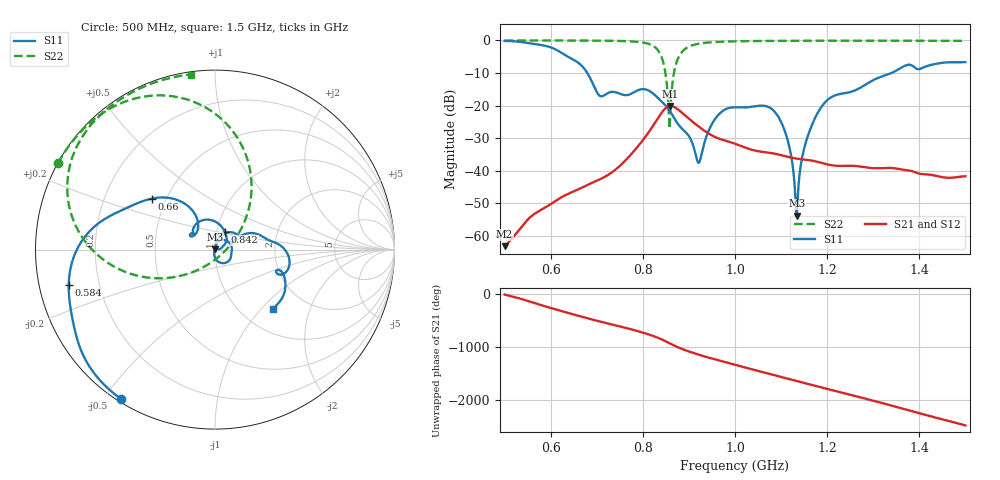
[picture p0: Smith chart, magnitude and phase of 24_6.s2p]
! TOUCHSTONE file generated by CST MICROWAVE STUDIO
! Date and time: Sat Oct 24 11:47:23 2020
! Project name: Scenario_1_Circular_Tissue_out_of_Line.cst
! Parameters = {dy1=52.843; L_HA=400; MT=2.54; Rad_Dielectric=30; Rad_Lower=7.3; Rad_Upper=30; a_HA=580; a_WG=246; b_HA=500; b_WG=121; c_HA=0; c_WG=187; d_feed=85; dx1=1039; h_feed=15; h_lower=18; h_upper=40}
! Header version: 2018
! Port assignment regex: !\s*Touchstone port\s*([0-9]+)\s*=\s*(CST MWS port|CST DS port)\s*([0-9]+|Zmin|Zmax)\s*\(\"(.*)\"\)(\s*mode\s*([0-9]+))?.*
! Touchstone port assignment:
! Touchstone port 1 = CST MWS port 1 ("")
! Touchstone port 2 = CST MWS port 2 ("")
# GHz S DB R 50
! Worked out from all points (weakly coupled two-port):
!   1001 points, 500 MHz to 1.5 GHz, reference 50 ohm
!   highest |S21| = -20.16 dB at 860 MHz (marker M1); lowest = -63.2 dB at 500 MHz (marker M2)
!   lowest |S11| = -53.9 dB at 1.134 GHz (marker M3), VSWR 1.00, Z = 49.8 + j0.0936 ohm
!   |S11| at or under -10 dB: 679.5 MHz to 1.34 GHz (660.5 MHz wide, 65.4 % of centre)
!   |S22| runs from -27.1 to 0.0 dB; largest |S21 - S12| = 3.6e-06
!   S11 on the Smith chart (normalised r, x): 500 MHz: 0.01, -0.55; 584 MHz: 0.09, -0.12; 660 MHz: 0.42, +0.30; 842 MHz: 1.09, +0.22; 1.5 GHz: 1.38, -1.17
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0.5  -0.15 -122.2  -63.23 -2.9  -63.22 -2.9  -0.01 151.1
0.584  -1.53 -166.3  -51.72 144.3  -51.72 144.3  -0.02 145.3
0.66  -6.88 141.2  -45.76 -45.1  -45.76 -45.1  -0.04 139.0
0.667  -7.73 135.0  -45.29 -61.6  -45.29 -61.6  -0.04 138.4
0.708  -17.13 138.0  -42.59 -156.4  -42.59 -156.4  -0.07 133.9
0.789  -15.33 133.8  -32.61 24.5  -32.61 24.5  -0.44 117.4
0.834  -17.83 71.1  -23.61 -105.2  -23.61 -105.2  -3.26 83.2
0.842  -18.94 61.0  -21.98 -135.6  -21.98 -135.6  -5.67 69.1
0.855  -20.93 43.6  -20.30 168.5  -20.30 168.5  -19.01 24.3
0.86  -21.97 36.8  -20.16 146.3  -20.16 146.3  -21.18 -113.3
0.878  -26.01 24.0  -21.40 72.9  -21.40 72.9  -5.05 -169.6
0.921  -37.60 38.9  -26.44 -60.2  -26.44 -60.2  -1.02 157.7
0.956  -24.30 57.1  -29.63 -147.4  -29.63 -147.4  -0.50 147.7
1  -20.55 5.1  -31.74 107.7  -31.74 107.7  -0.28 140.3
1.091  -22.81 -73.2  -34.95 -101.2  -34.95 -101.2  -0.13 130.6
1.116  -31.55 -99.7  -35.83 -158.7  -35.83 -158.7  -0.12 128.4
1.134  -53.90 152.3  -36.32 161.4  -36.32 161.4  -0.11 126.9
1.148  -34.42 84.7  -36.56 130.1  -36.56 130.1  -0.10 125.7
1.167  -25.99 78.7  -36.92 86.1  -36.92 86.1  -0.10 124.2
1.207  -17.61 47.3  -38.30 -3.4  -38.30 -3.4  -0.09 121.1
1.334  -10.34 10.0  -39.15 69.0  -39.15 69.0  -0.09 111.5
1.5  -6.67 -45.8  -41.75 39.8  -41.75 39.8  -0.13 97.9
